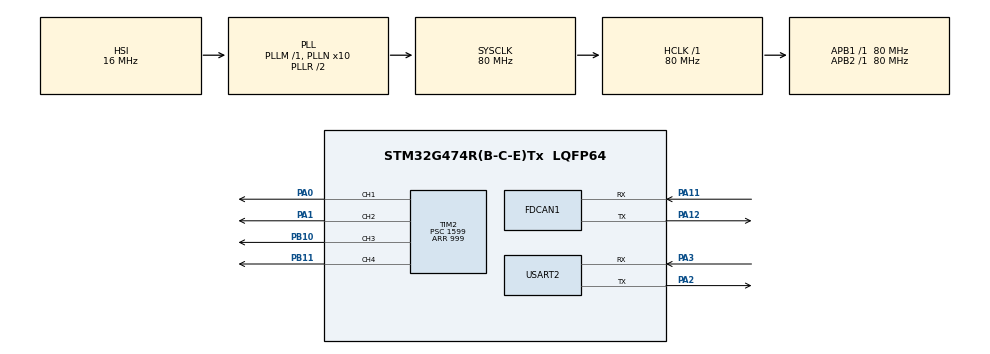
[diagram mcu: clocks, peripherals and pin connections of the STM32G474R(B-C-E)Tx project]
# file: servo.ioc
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FDCAN1.CalculateBaudRateNominal=1000000
FDCAN1.CalculateTimeBitNominal=1000
FDCAN1.CalculateTimeQuantumNominal=50.0
FDCAN1.DataPrescaler=2
FDCAN1.DataTimeSeg1=15
FDCAN1.DataTimeSeg2=4
FDCAN1.FrameFormat=FDCAN_FRAME_FD_BRS
FDCAN1.NominalPrescaler=4
FDCAN1.NominalTimeSeg1=15
FDCAN1.NominalTimeSeg2=4
FDCAN1.StdFiltersNbr=1
Mcu.Family=STM32G4
Mcu.Name=STM32G474R(B-C-E)Tx
Mcu.Package=LQFP64
NVIC.FDCAN1_IT0_IRQn=true\:0\:0\:false\:false\:true\:true\:true\:true
NVIC.FDCAN1_IT1_IRQn=true\:0\:0\:false\:false\:true\:true\:true\:true
NVIC.PriorityGroup=NVIC_PRIORITYGROUP_4
PA0.Signal=S_TIM2_CH1
PA1.Signal=S_TIM2_CH2
PA11.Mode=FDCAN_Activate
PA11.Signal=FDCAN1_RX
PA12.Mode=FDCAN_Activate
PA12.Signal=FDCAN1_TX
PA2.Mode=Asynchronous
PA2.Signal=USART2_TX
PA3.Mode=Asynchronous
PA3.Signal=USART2_RX
PB10.Signal=S_TIM2_CH3
PB11.Signal=S_TIM2_CH4
ProjectManager.HeapSize=0x200
ProjectManager.StackSize=0x400
ProjectManager.TargetToolchain=CMake
RCC.ADC12Freq_Value=80000000
RCC.ADC345Freq_Value=80000000
RCC.AHBFreq_Value=80000000
RCC.APB1Freq_Value=80000000
RCC.APB1TimFreq_Value=80000000
RCC.APB2Freq_Value=80000000
RCC.APB2TimFreq_Value=80000000
RCC.CortexFreq_Value=80000000
RCC.EXTERNAL_CLOCK_VALUE=12288000
RCC.HCLKFreq_Value=80000000
RCC.HSE_VALUE=8000000
RCC.HSI48_VALUE=48000000
RCC.HSI_VALUE=16000000
RCC.LSE_VALUE=32768
RCC.PLLN=10
RCC.SYSCLKFreq_VALUE=80000000
RCC.SYSCLKSource=RCC_SYSCLKSOURCE_PLLCLK
RCC.USBFreq_Value=80000000
RCC.VCOOutputFreq_Value=160000000
SH.S_TIM2_CH1.0=TIM2_CH1,PWM Generation1 CH1
SH.S_TIM2_CH2.0=TIM2_CH2,PWM Generation2 CH2
SH.S_TIM2_CH3.0=TIM2_CH3,PWM Generation3 CH3
SH.S_TIM2_CH4.0=TIM2_CH4,PWM Generation4 CH4
TIM2.Channel-PWM\ Generation1\ CH1=TIM_CHANNEL_1
TIM2.Channel-PWM\ Generation2\ CH2=TIM_CHANNEL_2
TIM2.Channel-PWM\ Generation3\ CH3=TIM_CHANNEL_3
TIM2.Channel-PWM\ Generation4\ CH4=TIM_CHANNEL_4
TIM2.OCMode_PWM-PWM\ Generation1\ CH1=TIM_OCMODE_PWM2
TIM2.OCPolarity_4=TIM_OCPOLARITY_HIGH
TIM2.PeriodNoDither=999
TIM2.Prescaler=1599
USART2.VirtualMode-Asynchronous=VM_ASYNC
VP_SYS_VS_DBSignals.Mode=DisableDeadBatterySignals
VP_TIM2_VS_ClockSourceINT.Mode=Internal
board=custom

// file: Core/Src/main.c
/* USER CODE BEGIN Header */
/**
  ******************************************************************************
  * @file           : main.c
  * @brief          : Main program body
  ******************************************************************************
  * @attention
  *
  * Copyright (c) 2025 STMicroelectronics.
  * All rights reserved.
  *
  * This software is licensed under terms that can be found in the LICENSE file
  * in the root directory of this software component.
  * If no LICENSE file comes with this software, it is provided AS-IS.
  *
  ******************************************************************************
  */
/* USER CODE END Header */
#include "main.h"

/* USER CODE BEGIN Includes */
#include"stdio.h"
/* USER CODE END Includes */

FDCAN_HandleTypeDef hfdcan1;

TIM_HandleTypeDef htim2;

UART_HandleTypeDef huart2;

/* USER CODE BEGIN PV */
FDCAN_TxHeaderTypeDef TxHeader;
FDCAN_RxHeaderTypeDef RxHeader;
uint8_t TxData[8] = {};
uint8_t RxData[8] = {};
/* USER CODE END PV */

void SystemClock_Config(void);
static void MX_GPIO_Init(void);
static void MX_FDCAN1_Init(void);
static void MX_TIM2_Init(void);
static void MX_USART2_UART_Init(void);

/* USER CODE BEGIN 0 */
void HAL_FDCAN_RxFifo1Callback(FDCAN_HandleTypeDef *hfdcan, uint32_t RxFifo0ITs)  //callback関数はmainの中に入れなくてもいい
{
  if((RxFifo0ITs & FDCAN_IT_RX_FIFO1_NEW_MESSAGE) != RESET)
  {
    if (HAL_FDCAN_GetRxMessage(&hfdcan1, FDCAN_RX_FIFO1, &RxHeader, RxData) != HAL_OK) {
      printf("fdcan_getrxmessage is error\r\n");
      Error_Handler();
    }

    if (RxHeader.Identifier == 0x020){
      if(RxData[0]){
        __HAL_TIM_SET_COMPARE(&htim2, TIM_CHANNEL_1, 51);
      }                              //ここは自動機なのでボタンではない。
      else{                          //rxData[0]==1の時動く
        __HAL_TIM_SET_COMPARE(&htim2, TIM_CHANNEL_1, 88);
      }
    }
  }
}
void FDCAN_RxTxSettings(void){
	FDCAN_FilterTypeDef FDCAN_Filter_settings;
	FDCAN_Filter_settings.IdType = FDCAN_STANDARD_ID;
	FDCAN_Filter_settings.FilterIndex = 0;
	FDCAN_Filter_settings.FilterType = FDCAN_FILTER_RANGE;
	FDCAN_Filter_settings.FilterConfig = FDCAN_FILTER_TO_RXFIFO1;
	FDCAN_Filter_settings.FilterID1 = 0x000;
	FDCAN_Filter_settings.FilterID2 = 0xfff;

	TxHeader.Identifier = 0x400;
	TxHeader.IdType = FDCAN_STANDARD_ID;
	TxHeader.TxFrameType = FDCAN_DATA_FRAME;
	TxHeader.DataLength = FDCAN_DLC_BYTES_8;
	TxHeader.ErrorStateIndicator = FDCAN_ESI_ACTIVE;
	TxHeader.BitRateSwitch = FDCAN_BRS_ON;
	TxHeader.FDFormat = FDCAN_FD_CAN;
	TxHeader.TxEventFifoControl = FDCAN_NO_TX_EVENTS;
	TxHeader.MessageMarker = 0;

	if (HAL_FDCAN_ConfigFilter(&hfdcan1, &FDCAN_Filter_settings) != HAL_OK){
		printf("fdcan_configfilter is error\r\n");
		Error_Handler();
	}

	if (HAL_FDCAN_ConfigGlobalFilter(&hfdcan1, FDCAN_REJECT, FDCAN_FILTER_REJECT, FDCAN_FILTER_REMOTE, FDCAN_FILTER_REMOTE) != HAL_OK){
		printf("fdcan_configglobalfilter is error\r\n");
		Error_Handler();
	}

	if (HAL_FDCAN_Start(&hfdcan1) != HAL_OK) {
		printf("fdcan_start is error\r\n");
		Error_Handler();
	}

	if (HAL_FDCAN_ActivateNotification(&hfdcan1, FDCAN_IT_RX_FIFO1_NEW_MESSAGE, 0) != HAL_OK){
		printf("fdcan_activatenotification is error\r\n");
		Error_Handler();
	}
}

// for printf()
int _write(int file, char *ptr, int len)
{
    HAL_UART_Transmit(&huart2,(uint8_t *)ptr,len,10);
    return len;
}
/* USER CODE END 0 */

int main(void)
{

  /* USER CODE BEGIN 1 */
  setbuf(stdout,NULL);
  /* USER CODE END 1 */

  /* MCU Configuration--------------------------------------------------------*/

  /* Reset of all peripherals, Initializes the Flash interface and the Systick. */
  HAL_Init();

  /* Configure the system clock */
  SystemClock_Config();

  /* Initialize all configured peripherals */
  MX_GPIO_Init();
  MX_FDCAN1_Init();
  MX_TIM2_Init();
  MX_USART2_UART_Init();
  /* USER CODE BEGIN 2 */
  HAL_TIM_PWM_Start(&htim2, TIM_CHANNEL_1);
  FDCAN_RxTxSettings();
  /* USER CODE END 2 */

  /* Infinite loop */
  while (1)
  {

  //   /* USER CODE BEGIN 3 */
  // __HAL_TIM_SET_COMPARE(&htim2,TIM_CHANNEL_1,51);
  // HAL_Delay(2000);
  // __HAL_TIM_SET_COMPARE(&htim2,TIM_CHANNEL_1,60);
  // HAL_Delay(2000);
  // __HAL_TIM_SET_COMPARE(&htim2,TIM_CHANNEL_1,80);
  // HAL_Delay(2000);
  // __HAL_TIM_SET_COMPARE(&htim2,TIM_CHANNEL_1,99);
  // HAL_Delay(2000);
  }
  /* USER CODE END 3 */
}

void SystemClock_Config(void)
{
  RCC_OscInitTypeDef RCC_OscInitStruct = {0};
  RCC_ClkInitTypeDef RCC_ClkInitStruct = {0};

  /** Configure the main internal regulator output voltage
  */
  HAL_PWREx_ControlVoltageScaling(PWR_REGULATOR_VOLTAGE_SCALE1);

  /** Initializes the RCC Oscillators according to the specified parameters
  * in the RCC_OscInitTypeDef structure.
  */
  RCC_OscInitStruct.OscillatorType = RCC_OSCILLATORTYPE_HSI;
  RCC_OscInitStruct.HSIState = RCC_HSI_ON;
  RCC_OscInitStruct.HSICalibrationValue = RCC_HSICALIBRATION_DEFAULT;
  RCC_OscInitStruct.PLL.PLLState = RCC_PLL_ON;
  RCC_OscInitStruct.PLL.PLLSource = RCC_PLLSOURCE_HSI;
  RCC_OscInitStruct.PLL.PLLM = RCC_PLLM_DIV1;
  RCC_OscInitStruct.PLL.PLLN = 10;
  RCC_OscInitStruct.PLL.PLLP = RCC_PLLP_DIV2;
  RCC_OscInitStruct.PLL.PLLQ = RCC_PLLQ_DIV2;
  RCC_OscInitStruct.PLL.PLLR = RCC_PLLR_DIV2;
  if (HAL_RCC_OscConfig(&RCC_OscInitStruct) != HAL_OK)
  {
    Error_Handler();
  }

  /** Initializes the CPU, AHB and APB buses clocks
  */
  RCC_ClkInitStruct.ClockType = RCC_CLOCKTYPE_HCLK|RCC_CLOCKTYPE_SYSCLK
                              |RCC_CLOCKTYPE_PCLK1|RCC_CLOCKTYPE_PCLK2;
  RCC_ClkInitStruct.SYSCLKSource = RCC_SYSCLKSOURCE_PLLCLK;
  RCC_ClkInitStruct.AHBCLKDivider = RCC_SYSCLK_DIV1;
  RCC_ClkInitStruct.APB1CLKDivider = RCC_HCLK_DIV1;
  RCC_ClkInitStruct.APB2CLKDivider = RCC_HCLK_DIV1;

  if (HAL_RCC_ClockConfig(&RCC_ClkInitStruct, FLASH_LATENCY_2) != HAL_OK)
  {
    Error_Handler();
  }
}

static void MX_FDCAN1_Init(void)
{

  hfdcan1.Instance = FDCAN1;
  hfdcan1.Init.ClockDivider = FDCAN_CLOCK_DIV1;
  hfdcan1.Init.FrameFormat = FDCAN_FRAME_FD_BRS;
  hfdcan1.Init.Mode = FDCAN_MODE_NORMAL;
  hfdcan1.Init.AutoRetransmission = DISABLE;
  hfdcan1.Init.TransmitPause = DISABLE;
  hfdcan1.Init.ProtocolException = DISABLE;
  hfdcan1.Init.NominalPrescaler = 4;
  hfdcan1.Init.NominalSyncJumpWidth = 1;
  hfdcan1.Init.NominalTimeSeg1 = 15;
  hfdcan1.Init.NominalTimeSeg2 = 4;
  hfdcan1.Init.DataPrescaler = 2;
  hfdcan1.Init.DataSyncJumpWidth = 1;
  hfdcan1.Init.DataTimeSeg1 = 15;
  hfdcan1.Init.DataTimeSeg2 = 4;
  hfdcan1.Init.StdFiltersNbr = 1;
  hfdcan1.Init.ExtFiltersNbr = 0;
  hfdcan1.Init.TxFifoQueueMode = FDCAN_TX_FIFO_OPERATION;
  if (HAL_FDCAN_Init(&hfdcan1) != HAL_OK)
  {
    Error_Handler();
  }

}

static void MX_TIM2_Init(void)
{

  TIM_ClockConfigTypeDef sClockSourceConfig = {0};
  TIM_MasterConfigTypeDef sMasterConfig = {0};
  TIM_OC_InitTypeDef sConfigOC = {0};

  htim2.Instance = TIM2;
  htim2.Init.Prescaler = 1599;
  htim2.Init.CounterMode = TIM_COUNTERMODE_UP;
  htim2.Init.Period = 999;
  htim2.Init.ClockDivision = TIM_CLOCKDIVISION_DIV1;
  htim2.Init.AutoReloadPreload = TIM_AUTORELOAD_PRELOAD_DISABLE;
  if (HAL_TIM_Base_Init(&htim2) != HAL_OK)
  {
    Error_Handler();
  }
  sClockSourceConfig.ClockSource = TIM_CLOCKSOURCE_INTERNAL;
  if (HAL_TIM_ConfigClockSource(&htim2, &sClockSourceConfig) != HAL_OK)
  {
    Error_Handler();
  }
  if (HAL_TIM_PWM_Init(&htim2) != HAL_OK)
  {
    Error_Handler();
  }
  sMasterConfig.MasterOutputTrigger = TIM_TRGO_RESET;
  sMasterConfig.MasterSlaveMode = TIM_MASTERSLAVEMODE_DISABLE;
  if (HAL_TIMEx_MasterConfigSynchronization(&htim2, &sMasterConfig) != HAL_OK)
  {
    Error_Handler();
  }
  sConfigOC.OCMode = TIM_OCMODE_PWM2;
  sConfigOC.Pulse = 0;
  sConfigOC.OCPolarity = TIM_OCPOLARITY_HIGH;
  sConfigOC.OCFastMode = TIM_OCFAST_DISABLE;
  if (HAL_TIM_PWM_ConfigChannel(&htim2, &sConfigOC, TIM_CHANNEL_1) != HAL_OK)
  {
    Error_Handler();
  }
  sConfigOC.OCMode = TIM_OCMODE_PWM1;
  if (HAL_TIM_PWM_ConfigChannel(&htim2, &sConfigOC, TIM_CHANNEL_2) != HAL_OK)
  {
    Error_Handler();
  }
  if (HAL_TIM_PWM_ConfigChannel(&htim2, &sConfigOC, TIM_CHANNEL_3) != HAL_OK)
  {
    Error_Handler();
  }
  if (HAL_TIM_PWM_ConfigChannel(&htim2, &sConfigOC, TIM_CHANNEL_4) != HAL_OK)
  {
    Error_Handler();
  }
  HAL_TIM_MspPostInit(&htim2);

}

static void MX_USART2_UART_Init(void)
{

  huart2.Instance = USART2;
  huart2.Init.BaudRate = 115200;
  huart2.Init.WordLength = UART_WORDLENGTH_8B;
  huart2.Init.StopBits = UART_STOPBITS_1;
  huart2.Init.Parity = UART_PARITY_NONE;
  huart2.Init.Mode = UART_MODE_TX_RX;
  huart2.Init.HwFlowCtl = UART_HWCONTROL_NONE;
  huart2.Init.OverSampling = UART_OVERSAMPLING_16;
  huart2.Init.OneBitSampling = UART_ONE_BIT_SAMPLE_DISABLE;
  huart2.Init.ClockPrescaler = UART_PRESCALER_DIV1;
  huart2.AdvancedInit.AdvFeatureInit = UART_ADVFEATURE_NO_INIT;
  if (HAL_UART_Init(&huart2) != HAL_OK)
  {
    Error_Handler();
  }
  if (HAL_UARTEx_SetTxFifoThreshold(&huart2, UART_TXFIFO_THRESHOLD_1_8) != HAL_OK)
  {
    Error_Handler();
  }
  if (HAL_UARTEx_SetRxFifoThreshold(&huart2, UART_RXFIFO_THRESHOLD_1_8) != HAL_OK)
  {
    Error_Handler();
  }
  if (HAL_UARTEx_DisableFifoMode(&huart2) != HAL_OK)
  {
    Error_Handler();
  }

}

static void MX_GPIO_Init(void)
{

  /* GPIO Ports Clock Enable */
  __HAL_RCC_GPIOA_CLK_ENABLE();
  __HAL_RCC_GPIOB_CLK_ENABLE();

}

void Error_Handler(void)
{
  __disable_irq();
  while (1)
  {
  }
}
